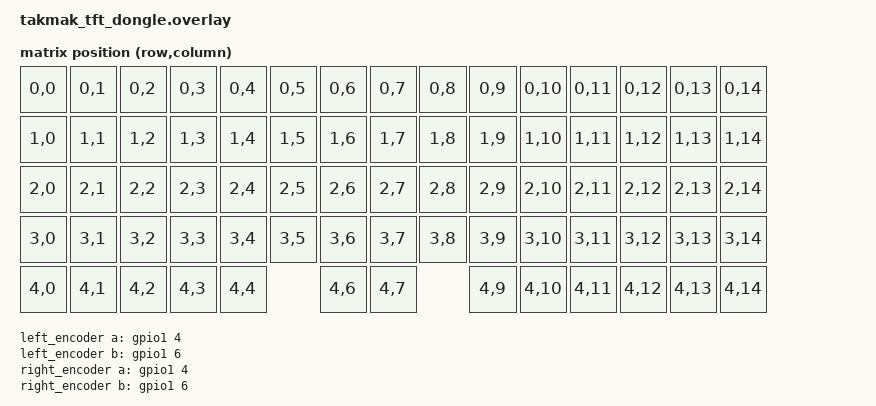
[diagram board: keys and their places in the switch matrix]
#include <dt-bindings/zmk/matrix_transform.h>
#include <dt-bindings/gpio/gpio.h>
#include <dt-bindings/pinctrl/nrf-pinctrl.h>
/ {
    chosen {
        zmk,kscan = &mock_kscan;
        zmk,matrix-transform = &default_transform;
        zephyr,display = &tft;
    };
    /delete-node/ EXT_POWER;
    mock_kscan: kscan0 {
        compatible = "zmk,kscan-mock";
        columns = <15>;
        rows = <5>;
        events = <>;
    };
    left_encoder: encoder_left {
        compatible = "alps,ec11";
        a-gpios = <&gpio1 4 GPIO_ACTIVE_HIGH>;
        b-gpios = <&gpio1 6 GPIO_ACTIVE_HIGH>;
        steps = <80>;
        status = "disabled";
    };
    right_encoder: encoder_right {
        compatible = "alps,ec11";
        a-gpios = <&gpio1 4 GPIO_ACTIVE_HIGH>;
        b-gpios = <&gpio1 6 GPIO_ACTIVE_HIGH>;
        steps = <80>;
        status = "disabled";
    };
    sensors {
        compatible = "zmk,keymap-sensors";
        sensors = <&left_encoder &right_encoder>;
        triggers-per-rotation = <10>;
    };
	default_transform: keymap_transform_0 {
		compatible = "zmk,matrix-transform";
		columns = <15>;
		rows = <5>;
		map = <
RC(0,0) RC(0,1) RC(0,2) RC(0,3) RC(0,4) RC(0,5) RC(0,6)  RC(0,7) RC(0,8) RC(0,9) RC(0,10) RC(0,11) RC(0,12) RC(0,13) RC(0,14)
RC(1,0) RC(1,1) RC(1,2) RC(1,3) RC(1,4) RC(1,5) RC(1,6)  RC(1,7) RC(1,8) RC(1,9) RC(1,10) RC(1,11) RC(1,12) RC(1,13) RC(1,14)
RC(2,0) RC(2,1) RC(2,2) RC(2,3) RC(2,4) RC(2,5) RC(2,6)  RC(2,7) RC(2,8) RC(2,9) RC(2,10) RC(2,11) RC(2,12) RC(2,13) RC(2,14)
RC(3,0) RC(3,1) RC(3,2) RC(3,3) RC(3,4) RC(3,5) RC(3,6)  RC(3,7) RC(3,8) RC(3,9) RC(3,10) RC(3,11) RC(3,12) RC(3,13) RC(3,14)
RC(4,0) RC(4,1) RC(4,2) RC(4,3) RC(4,4)         RC(4,6)  RC(4,7)         RC(4,9) RC(4,10) RC(4,11) RC(4,12) RC(4,13) RC(4,14)
		>;
	};
};
// Hold SuperMini external LDO enabled; no persisted external-power setting.
&gpio0 {
    tft_power_enable {
        gpio-hog;
        gpios = <13 GPIO_ACTIVE_HIGH>;
        output-high;
    };
};
&i2c0 { status = "disabled"; };
&uart0 { status = "disabled"; };
&spi1 { status = "disabled"; };
&pinctrl {
    tft_spi_default: tft_spi_default {
        group1 {
            psels = <NRF_PSEL(SPIM_SCK, 1, 13)>, <NRF_PSEL(SPIM_MOSI, 0, 10)>;
        };
    };
    tft_spi_sleep: tft_spi_sleep {
        group1 {
            psels = <NRF_PSEL(SPIM_SCK, 1, 13)>, <NRF_PSEL(SPIM_MOSI, 0, 10)>;
            low-power-enable;
        };
    };
};
&spi3 {
    compatible = "nordic,nrf-spim";
    status = "okay";
    pinctrl-0 = <&tft_spi_default>;
    pinctrl-1 = <&tft_spi_sleep>;
    pinctrl-names = "default", "sleep";
    cs-gpios = <&gpio0 9 GPIO_ACTIVE_LOW>;
    tft: st7789v@0 {
        compatible = "sitronix,st7789v";
        reg = <0>;
        spi-max-frequency = <1000000>;
        cmd-data-gpios = <&gpio0 31 GPIO_ACTIVE_LOW>;
        reset-gpios = <&gpio0 29 GPIO_ACTIVE_LOW>;
        // Landscape window: portrait 76x284 (82,18), axes swapped.
        width = <284>;
        height = <76>;
        x-offset = <18>;
        y-offset = <82>;
        mdac = <0x60>;
        colmod = <0x55>;
        ready-time-ms = <200>;
        vcom = <0x20>;
        gctrl = <0x35>;
        lcm = <0x2c>;
        gamma = <0x01>;
        porch-param = [0c 0c 00 33 33];
        cmd2en-param = [5a 69 02 01];
        pwctrl1-param = [a4 a1];
        pvgam-param = [d0 04 0d 11 13 2b 3f 54 4c 18 0d 0b 1f 23];
        nvgam-param = [d0 04 0c 11 13 2c 3f 44 51 2f 1f 1f 20 23];
        ram-param = [00 f0];
        rgb-param = [cd 08 14];
    };
};
